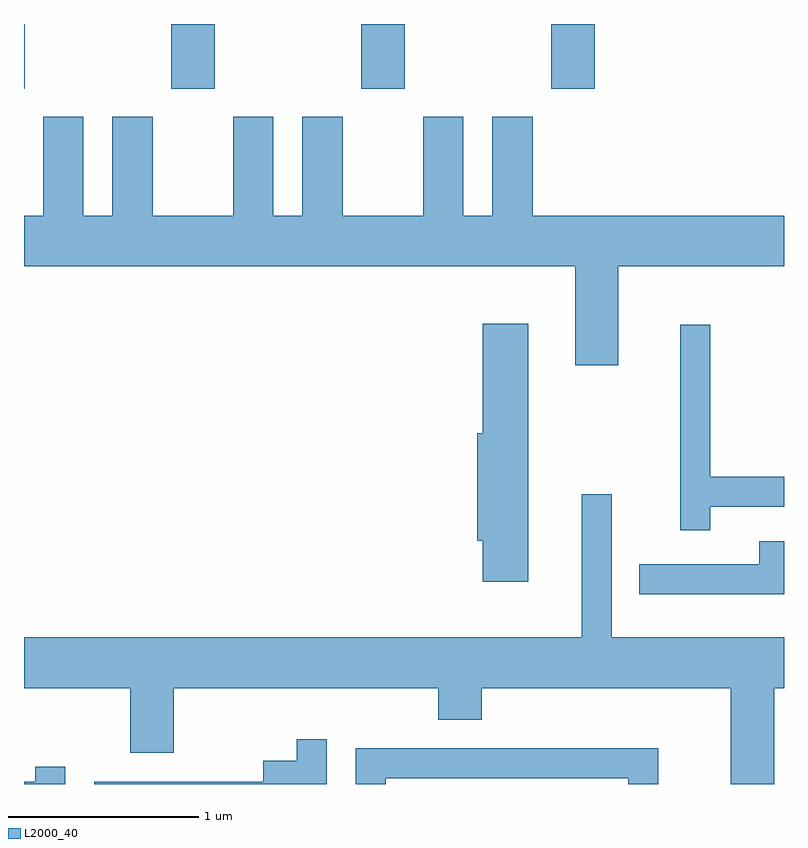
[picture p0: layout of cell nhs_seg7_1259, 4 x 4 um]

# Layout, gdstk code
import gdstk
lib = gdstk.Library(unit=1e-6, precision=1e-09)
def R(c, l, rs):  # rectangles x0, y0, x1, y1
    for r in rs: c.add(gdstk.rectangle(r[:2], r[2:], *l))
def A(c, l, x, y, w, h, nx, ny, dx, dy):  # array of equal rectangles
    R(c, l, [(x+i*dx, y+j*dy, x+i*dx+w, y+j*dy+h) for i in range(nx) for j in range(ny)])
def P(c, l, *ps):  # polygons
    for p in ps: c.add(gdstk.Polygon(p, *l))
L2000_40 = (2000, 40)

nhs_seg7_1259 = lib.new_cell('nhs_seg7_1259')
A(nhs_seg7_1259, L2000_40, 224.386, 1721.911, 0.228, 0.341, 3, 1, 1, 0)
R(nhs_seg7_1259, L2000_40, [(223.611,1721.911,223.614,1722.252)])
P(nhs_seg7_1259, L2000_40, [(226.739,1720.976),(227.611,1720.976),(227.611,1721.244),(226.289,1721.244),(226.289,1721.764),(226.076,1721.764),(226.076,1721.244),(225.924,1721.244),(225.924,1721.764),(225.711,1721.764),(225.711,1721.244),(225.289,1721.244),(225.289,1721.764),(225.076,1721.764),(225.076,1721.244),(224.924,1721.244),(224.924,1721.764),(224.711,1721.764),(224.711,1721.244),(224.289,1721.244),(224.289,1721.764),(224.076,1721.764),(224.076,1721.244),(223.924,1721.244),(223.924,1721.764),(223.711,1721.764),(223.711,1721.244),(223.611,1721.244),(223.611,1720.976),(226.511,1720.976),(226.511,1720.456),(226.739,1720.456)],
  [(226.264,1720.674),(226.026,1720.674),(226.026,1720.099),(225.996,1720.099),(225.996,1719.531),(226.026,1719.531),(226.026,1719.316),(226.264,1719.316)],
  [(227.224,1719.711),(227.611,1719.711),(227.611,1719.869),(227.224,1719.869),(227.224,1720.668),(227.066,1720.668),(227.066,1719.588),(227.224,1719.588)],
  [(227.559,1718.756),(227.611,1718.756),(227.611,1719.024),(226.704,1719.024),(226.704,1719.778),(226.546,1719.778),(226.546,1719.024),(223.611,1719.024),(223.611,1718.756),(224.171,1718.756),(224.171,1718.416),(224.399,1718.416),(224.399,1718.756),(225.791,1718.756),(225.791,1718.591),(226.019,1718.591),(226.019,1718.756),(227.331,1718.756),(227.331,1718.252),(227.559,1718.252)],
  [(227.611,1719.529),(227.481,1719.529),(227.481,1719.409),(226.848,1719.409),(226.848,1719.251),(227.611,1719.251)],
  [(225.204,1718.488),(225.046,1718.488),(225.046,1718.374),(224.871,1718.374),(224.871,1718.264),(223.981,1718.264),(223.981,1718.252),(225.204,1718.252)],
  [(225.514,1718.281),(226.791,1718.281),(226.791,1718.252),(226.949,1718.252),(226.949,1718.439),(225.356,1718.439),(225.356,1718.252),(225.514,1718.252)],
  [(223.829,1718.343),(223.671,1718.343),(223.671,1718.264),(223.611,1718.264),(223.611,1718.252),(223.829,1718.252)])

lib.write_gds('nhs_seg7_1259.gds')
